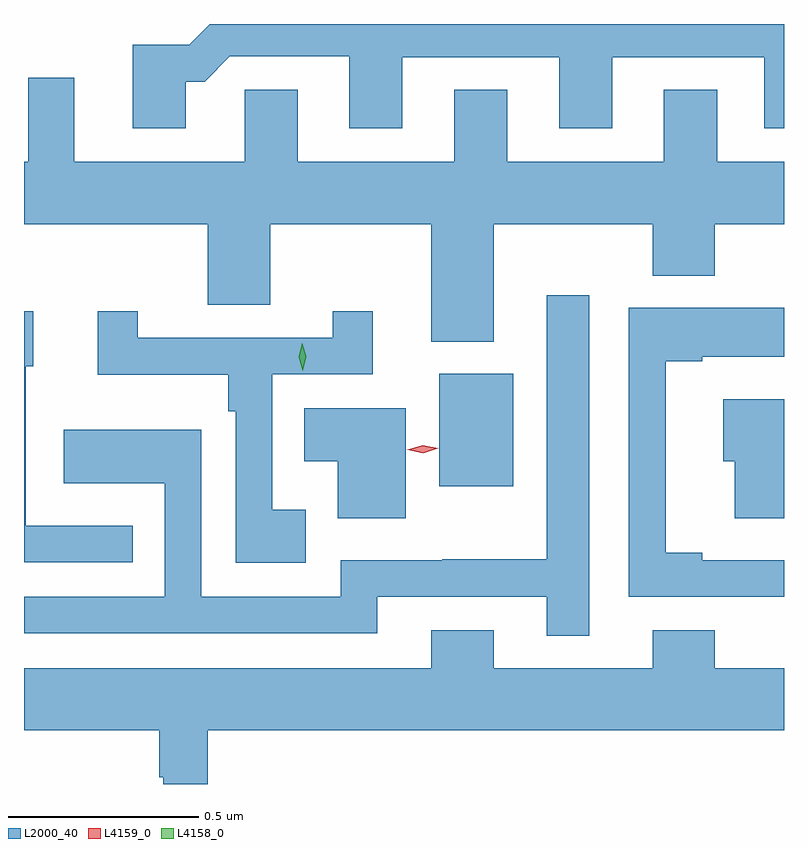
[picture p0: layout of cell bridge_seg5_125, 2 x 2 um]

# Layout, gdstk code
import gdstk
lib = gdstk.Library(unit=1e-6, precision=1e-09)
def R(c, l, rs):  # rectangles x0, y0, x1, y1
    for r in rs: c.add(gdstk.rectangle(r[:2], r[2:], *l))
def P(c, l, *ps):  # polygons
    for p in ps: c.add(gdstk.Polygon(p, *l))
L2000_40 = (2000, 40)
L4158_0 = (4158, 0)
L4159_0 = (4159, 0)

bridge_seg5_125 = lib.new_cell('bridge_seg5_125')
R(bridge_seg5_125, L2000_40, [(435.968,890.702,436.162,890.998)])
P(bridge_seg5_125, L2000_40, [(435.301,891.767),(435.35,891.767),(435.417,891.834),(435.731,891.834),(435.731,891.645),(435.871,891.645),(435.871,891.831),(436.283,891.831),(436.283,891.645),(436.423,891.645),(436.423,891.831),(436.823,891.831),(436.823,891.645),(436.875,891.645),(436.875,891.919),(435.364,891.919),(435.31,891.865),(435.161,891.865),(435.161,891.645),(435.301,891.645)],
  [(436.111,891.392),(436.529,891.392),(436.529,891.257),(436.693,891.257),(436.693,891.392),(436.875,891.392),(436.875,891.556),(436.699,891.556),(436.699,891.746),(436.559,891.746),(436.559,891.556),(436.147,891.556),(436.147,891.746),(436.007,891.746),(436.007,891.556),(435.595,891.556),(435.595,891.746),(435.456,891.746),(435.456,891.556),(435.007,891.556),(435.007,891.778),(434.886,891.778),(434.886,891.556),(434.875,891.556),(434.875,891.392),(435.359,891.392),(435.359,891.18),(435.523,891.18),(435.523,891.392),(435.947,891.392),(435.947,891.083),(436.111,891.083)],
  [(436.363,891.205),(436.25,891.205),(436.25,890.51),(435.976,890.51),(435.976,890.508),(435.708,890.508),(435.708,890.412),(435.342,890.412),(435.342,890.851),(434.979,890.851),(434.979,890.711),(435.246,890.711),(435.246,890.412),(434.875,890.412),(434.875,890.316),(435.805,890.316),(435.805,890.412),(436.25,890.412),(436.25,890.309),(436.363,890.309)],
  [(436.875,890.508),(436.66,890.508),(436.66,890.528),(436.564,890.528),(436.564,891.032),(436.66,891.032),(436.66,891.044),(436.875,891.044),(436.875,891.172),(436.467,891.172),(436.467,890.412),(436.875,890.412)],
  [(435.616,890.641),(435.528,890.641),(435.528,890.997),(435.793,890.997),(435.793,891.163),(435.687,891.163),(435.687,891.093),(435.174,891.093),(435.174,891.163),(435.069,891.163),(435.069,890.996),(435.412,890.996),(435.412,890.9),(435.432,890.9),(435.432,890.501),(435.616,890.501)],
  [(435.161,890.598),(434.88,890.598),(434.88,891.018),(434.899,891.018),(434.899,891.163),(434.875,891.163),(434.875,890.502),(435.161,890.502)],
  [(436.875,890.932),(436.715,890.932),(436.715,890.768),(436.745,890.768),(436.745,890.618),(436.875,890.618)],
  [(435.88,890.908),(435.613,890.908),(435.613,890.768),(435.701,890.768),(435.701,890.618),(435.88,890.618)],
  [(435.359,890.06),(436.875,890.06),(436.875,890.224),(436.693,890.224),(436.693,890.323),(436.529,890.323),(436.529,890.224),(436.111,890.224),(436.111,890.323),(435.947,890.323),(435.947,890.224),(434.875,890.224),(434.875,890.06),(435.231,890.06),(435.231,889.937),(435.242,889.937),(435.242,889.919),(435.359,889.919)])
P(bridge_seg5_125, L4158_0, [(435.608,891.007),(435.608,891.007),(435.598,891.043),(435.607,891.079),(435.607,891.079),(435.607,891.079),(435.618,891.043),(435.608,891.007)])
P(bridge_seg5_125, L4159_0, [(435.925,890.79),(435.883,890.799),(435.883,890.799),(435.883,890.799),(435.924,890.81),(435.965,890.802),(435.965,890.802),(435.965,890.802)])

lib.write_gds('bridge_seg5_125.gds')
